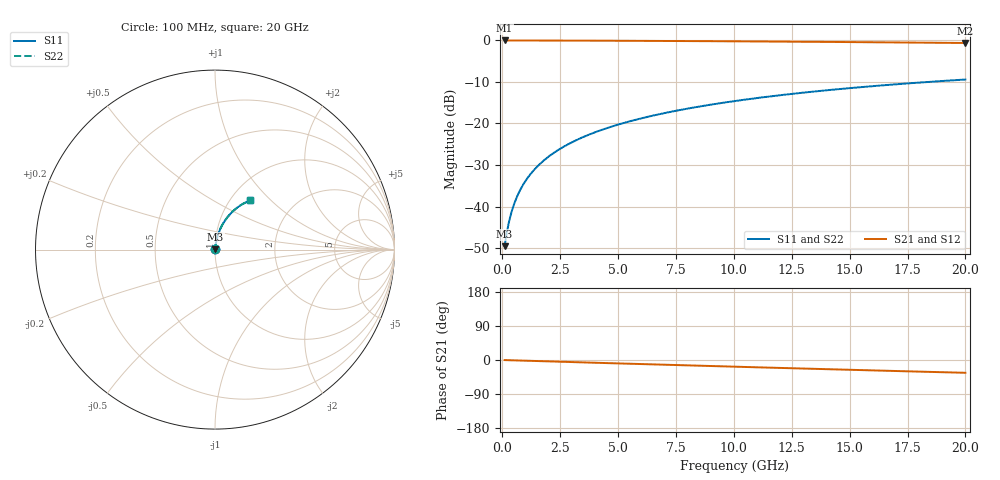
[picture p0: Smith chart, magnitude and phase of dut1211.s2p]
! Touchstone file exported from HFSS 2026.1.0
!  File:  C:/ffzhzh/LocalFiles/Ansys_Project_Files/temp_train_TMRDL_1211_1783163178_51560.aedt
!  Generated:  07:07:35 PM Jul  4, 2026
!  Design:  TMRDL
!  Project:  temp_train_TMRDL_1211_1783163178_51560
! Variables:
!  h_bsmrdl = 2um
!  h_ox = 20um
!  h_rdl = 5um
!  h_sub = 80um
!  h_tmrdl = 5.68um
!  h_tsv = 80um
!  h_via = 3um
!  l_bsmrdl = 300um
!  l_sub = 884.34um
!  l_tmrdl = 484.34um
!  m_sub = 200um
!  pitch = 36.19um
!  r_tsv = 6um
!  s_tmrdl = 10um
!  w_bsmrdl = 18um
!  w_sub = 500um
!  w_tmrdl = 11.91um
!  x_tsv_center1 = 490.295um
!  x_tsv_center2 = 808.295um
!  x_tsv_center3 = 1304.545um
!  x_tsv_center4 = 1622.545um
!  x_tsv_center5 = 2118.795um
!  x_tsv_center6 = 2436.795um
# GHz S MA R 50.000000
! Terminal data exported
! Port[1] = TM_RDL1_1_T1
! Port[2] = TM_RDL1_1_T2
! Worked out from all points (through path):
!   200 points, 100 MHz to 20 GHz, reference 50 ohm
!   highest |S21| = -0.02 dB at 100 MHz (marker M1); lowest = -0.6 dB at 20 GHz (marker M2)
!   group delay of S21, straight-line fit = 4.68 ps
!   lowest |S11| = -49.5 dB at 100 MHz (marker M3), VSWR 1.01, Z = 50.3 + j0.21 ohm
!   |S11| at or under -10 dB: start of sweep to 18.41 GHz
!   |S22| runs from -49.5 to -9.4 dB; largest |S21 - S12| = 2.6e-15
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0.1  0.003335 38.7  0.9974 -0.2  0.9974 -0.2  0.003335 38.7
! Gamma 0 0 0 0
! Port Impedance 50 0 50 0
0.2  0.004931 56.9  0.9973 -0.4  0.9973 -0.4  0.004931 56.9
0.3  0.006746 65.5  0.9972 -0.6  0.9972 -0.6  0.006746 65.5
0.4  0.008627 70.3  0.9972 -0.7  0.9972 -0.7  0.008627 70.3
0.5  0.01054 73.4  0.9971 -0.9  0.9971 -0.9  0.01054 73.4
0.6  0.01247 75.4  0.997 -1.1  0.997 -1.1  0.01247 75.4
0.8  0.01636 78.0  0.9969 -1.5  0.9969 -1.5  0.01636 78.0
1.1  0.02223 79.9  0.9967 -2.0  0.9967 -2.0  0.02223 79.9
1.5  0.03008 81.0  0.9963 -2.7  0.9963 -2.7  0.03008 81.0
1.8  0.03596 81.2  0.9959 -3.3  0.9959 -3.3  0.03596 81.2
2.1  0.04182 81.1  0.9955 -3.8  0.9955 -3.8  0.04182 81.2
2.7  0.05344 80.7  0.9945 -4.9  0.9945 -4.9  0.05344 80.7
3.5  0.06875 79.8  0.993 -6.3  0.993 -6.3  0.06875 79.8
4.2  0.08195 78.8  0.9915 -7.6  0.9915 -7.6  0.08195 78.8
5  0.09683 77.6  0.9895 -9.0  0.9895 -9.0  0.09683 77.6
5.9  0.1133 76.2  0.9872 -10.6  0.9872 -10.6  0.1133 76.2
6.8  0.1296 74.8  0.9846 -12.1  0.9846 -12.1  0.1296 74.8
8.3  0.1561 72.4  0.98 -14.7  0.98 -14.7  0.1561 72.4
10.1  0.1871 69.6  0.9738 -17.8  0.9738 -17.8  0.1871 69.6
13.4  0.2413 64.4  0.9607 -23.3  0.9607 -23.3  0.2413 64.4
16.7  0.2917 59.3  0.9459 -28.6  0.9459 -28.6  0.2916 59.3
20  0.3379 54.3  0.9299 -33.8  0.9299 -33.8  0.3379 54.4
